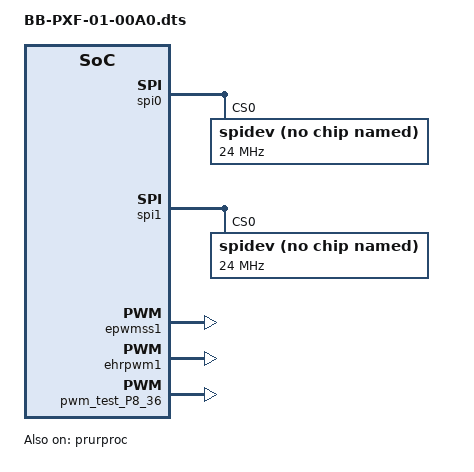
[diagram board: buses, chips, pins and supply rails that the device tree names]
/*
* Copyright (C) 2013 Pantelis Antoniou <panto@antoniou-consulting.com>
*
* This program is free software; you can redistribute it and/or modify
* it under the terms of the GNU General Public License version 2 as
* published by the Free Software Foundation.
*/
/dts-v1/;
/plugin/;

/ {
	compatible = "ti,beaglebone", "ti,beaglebone-black";

	/* identification */
	part-number = "BB-PXF-01";
	version = "00A0";

	/* state the resources this cape uses */
	exclusive-use =
		/* the pin header uses */

		/* PRU RCInput */
		"P8.11",	/* pru0: pr1_pru0_pru_r30_15 */
		"P8.15",	/* pru0: pr1_pru0_pru_r31_15, PPM-sum, SBUS, DSM */
	
        /* PRU RCOutput */
		"P8.27",	/* pru1: pr1_pru1_pru_r30_8, CH_2 */
		"P8.28",	/* pru1: pr1_pru1_pru_r30_10, CH_1 */
		"P8.29",	/* pru1: pr1_pru1_pru_r30_9, CH_4 */
		"P8.30",	/* pru1: pr1_pru1_pru_r30_11, CH_3 */
		"P8.39",	/* pru1: pr1_pru1_pru_r30_6, CH_6 */
		"P8.40",	/* pru1: pr1_pru1_pru_r30_7, CH_5 */
		"P8.41",	/* pru1: pr1_pru1_pru_r30_4, CH_8 */
		"P8.42",	/* pru1: pr1_pru1_pru_r30_5, CH_7 */
		"P8.43",	/* pru1: pr1_pru1_pru_r30_2, CH_10 */
		"P8.44",	/* pru1: pr1_pru1_pru_r30_3, CH_9 */
		"P8.45",	/* pru1: pr1_pru1_pru_r30_0, CH_12 */
		"P8.46",	/* pru1: pr1_pru1_pru_r30_1, CH_11 */

		/* SPI0 */
		"P9.22",	/* SPI0_SCLK */
		"P9.21",	/* SPI0_MOSI */
		"P9.18",	/* SPI0_MISO */
		"P9.17",	/* LSM9DSO_AM CS */
		"P8.9",		/* LSM9DSO_G CS  */
        
		/* SPI1 */
		"P9.31",	/* SPI1_SCLK */
		"P9.29",	/* SPI1_MOSI */
		"P9.30",	/* SPI1_MISO */
		"P9.42",	/* MS5611 CS */
		"P9.28",	/* MPU6000 CS */
		"P9.23",	/* MPU9250 CS */
		"P8.12",	/* FRAM CS */
        
		/* Buzzer PWM */
		"P8.36",	/* pwm: ehrpwm1A */
		
		/* the hardware IP uses */
		"pru0",
		"pru1",
		"spi0",
		"spi1",
		"ehrpwm1A";

	fragment@0 {
		target = <&am33xx_pinmux>;
		__overlay__ {

			pru_gpio_pins: pinmux_pru_gpio_pins {
				pinctrl-single,pins = <
					0x1a4 0x0f 	/* P9 27 GPIO3_19: mcasp0_fsr.gpio3[19] | MODE7 | OUTPUT */
				>;
			};

			pru_pru_pins: pinmux_pru_pru_pins {
				pinctrl-single,pins = <
					0x034 0x26	/* gpmc_ad13.pr1_pru0_pru_r30_15, MODE6 | OUTPUT | PRU */
					0x03c 0x2e	/* gpmc_ad15.pr1_pru0_pru_r31_15, MODE6 | INPUT | PRU, PPM-sum, SBUS, DSM  */

					0x0e0 0x25	/* lcd_vsync.pr1_pru1_pru_r30_8, MODE5 | OUTPUT | PRU, CH_2 */
					0x0e8 0x25	/* lcd_pclk.pr1_pru1_pru_r30_10, MODE5 | OUTPUT | PRU, CH_1 */
					0x0e4 0x25	/* lcd_hsync.pr1_pru1_pru_r30_9, MODE5 | OUTPUT | PRU, CH_4 */
					0x0ec 0x25	/* lcd_ac_bias_en.pr1_pru1_pru_r30_11, MODE5 | OUTPUT | PRU, CH_3 */
					0x0b8 0x25	/* lcd_data6.pr1_pru1_pru_r30_6, MODE5 | OUTPUT | PRU, CH_6 */
					0x0bc 0x25	/* lcd_data7.pr1_pru1_pru_r30_7, MODE5 | OUTPUT | PRU, CH_5 */
					0x0b0 0x25	/* lcd_data4.pr1_pru1_pru_r30_4, MODE5 | OUTPUT | PRU, CH_8 */
					0x0b4 0x25	/* lcd_data5.pr1_pru1_pru_r30_5, MODE5 | OUTPUT | PRU, CH_7 */
					0x0a8 0x25	/* lcd_data2.pr1_pru1_pru_r30_2, MODE5 | OUTPUT | PRU, CH_10 */
					0x0ac 0x25	/* lcd_data3.pr1_pru1_pru_r30_3, MODE5 | OUTPUT | PRU, CH_9 */
					0x0a0 0x25	/* lcd_data0.pr1_pru1_pru_r30_0, MODE5 | OUTPUT | PRU, CH_12 */
					0x0a4 0x25	/* lcd_data1.pr1_pru1_pru_r30_1, MODE5 | OUTPUT | PRU, CH_11 */
				>;
			};
			spi0_pins_s0: spi0_pins_s0 {
				pinctrl-single,pins = <
					0x150 0x30	/* spi0_sclk, SPI0_SCLK P9_22 */
					0x154 0x10	/* spi0_d0, SPI0_MOSI  P9_21 */
					0x158 0x30	/* spi0_d1, SPI0_MISO P9_18 */
					
							/* setup a dummy CS for the SPI driver to use, then
							setup pin modes for the two real CS lines to
							set them pull-up */

					0x054 0x07	/* led pin, dummy CS */
					0x15C 0x37	/* LSM9DSO_AM CS P9_17 */
					0x09C 0x37	/* LSM9DSO_G CS P8_9 */
				>;
			};
			spi1_pins_s0: spi1_pins_s0 {
				pinctrl-single,pins = <
					0x190 0x33	/* mcasp0_aclkx.spi1_sclk, SPI1_SCLK P9_31 */
					0x194 0x13	/* mcasp0_fsx.spi1_d0, SPI1_MOSI P9_29 */
					0x198 0x33	/* mcasp0_axr0.spi1_d1, SPI1_MISO P9_30 */
				
					/* setup a dummy CS for the SPI driver to use, then
					setup pin modes for the four real CS lines to
					set them pull-up */
				
					0x058 0x07	/* dummy CS */
					0x164 0x37	/* P9_42 MS5611 CS */
					0x19C 0x37	/* P9_28 MPU6000 CS */
					0x044 0x37	/* P9_23 MPU9250 CS */
					0x030 0x37	/* P8_12 FRAM CS */
				>;
			};
			pwm_P8_36: pinmux_pwm_P8_36_pins {
				pinctrl-single,pins = <
					0x0C8 0x02	/* P8_36 (ZCZ ball U3) | MODE 2 */
				>; 
			};
		};
	};
	fragment@2 {
		target = <&spi0>;
		__overlay__ {
			#address-cells = <1>;
			#size-cells = <0>;
			status = "okay";
			pinctrl-names = "default";
			pinctrl-0 = <&spi0_pins_s0>;
			ti,pindir-d0-out-d1-in = <1>;
  
			spidev@0 {
				spi-max-frequency = <24000000>;
				reg = <0>;
				compatible = "linux,spidev";
			};
		};
	};
	fragment@3{
		target = <&spi1>;
		__overlay__ {
			#address-cells = <1>;
			#size-cells = <0>;
			status = "okay";
			pinctrl-names = "default";
			pinctrl-0 = <&spi1_pins_s0>;
			ti,pindir-d0-out-d1-in = <1>;

			spidev@1 {
				spi-max-frequency = <24000000>;
				reg = <0>;
				compatible = "linux,spidev";
			};
		};
	};
	fragment@4 {
		target = <&epwmss1>;
		__overlay__ {
			status = "okay";
		};
	};
	fragment@5 {
		target = <&ehrpwm1>;
		__overlay__ {
			status = "okay";
		};
	};
	fragment@6 {
		target = <&ocp>;
		__overlay__ {
			pwm_test_P8_36 {
				compatible	= "pwm_test";
				pwms 		= <&ehrpwm1 0 500000 1>;
				pwm-names 	= "PWM_P8_36";
				pinctrl-names	= "default";
				pinctrl-0	= <&pwm_P8_36>;
				enabled		= <1>;
				duty		= <0>;
				status 		= "okay";
			};
		};
	};
	fragment@7 {
		target = <&ocp>;

		__overlay__ {

			/* avoid stupid warning */
			#address-cells = <1>;
			#size-cells = <1>;

			prurproc {
				compatible = "ti,pru-rproc";

				pinctrl-names = "default";
				pinctrl-0 = <&pru_pru_pins>;

				reg = <0x4a300000 0x080000>;

				status = "okay";

				ti,hwmods = "pruss";
				ti,deassert-hard-reset = "pruss", "pruss";
				interrupt-parent = <&intc>;

				/* interrupts on the host */
				interrupts = <20 21 22 23 24 25 26 27>;

				/* events these interrupts map to (host interrupt) */
				events = <2 3 4 5 6 7 8 9>;

				/* PRU interrupt controller offset */
				pintc = <0x20000>;

				/* 12K Shared Data RAM global, size, local */
				pdram = <0x10000 0x03000 0x10000>;

				/*
				 * SYSEVENT ids
				 *
				 * - PRU/ARM communication
				 * PRU0_PRU1	17
				 * PRU1_PRU0	18
				 * PRU0_ARM	19
				 * PRU1_ARM	20
				 * ARM_PRU0	21
				 * ARM_PRU1	22
				 *
				 * Full SYSEVENT list
				 *
				 * parity_err_intr_pend		0
				 * pru0_r31_status_cnt16	1
				 * pru1_r31_status_cnt16	2
				 * uart_urxevt_intr_req		4
				 * uart_utxevt_intr_req		5
				 * uart_uint_intr_req		6
				 * iep_tim_cap_cmp_pend		7
				 * ecap_intr_req		15
				 * pru_mst_intr[0-15]_intr_req	16-31
				 * nirq				32 (UART1)
				 * mcasp_x_intr_pend		33 (MCASP1)
				 * mcasp_r_intr_pend		34 (MCASP1)
				 * ecap_intr_intr_pend		35 (ECAP1)
				 * ecap_intr_intr_pend		36 (ECAP2)
				 * epwm_intr_intr_pend		37 (eHRPWM2)
				 * dcan_uerr			38 (DCAN0)
				 * dcan_int1			39 (DCAN0)
				 * dcan_intr			40 (DCAN0)
				 * POINTRPEND			41 (I2C0)
				 * ecap_intr_intr_pend		42 (ECAP0)
				 * epwm_intr_intr_pend		43 (eHRPWM0)
				 * SINTERRUPTN			44 (McSPI0)
				 * eqep_intr_intr_pend		45 (eQEP0)
				 * epwm_intr_intr_pend		46 (eHRPWM1)
				 * c0_misc_pend			47 3PGSW (GEMAC)
				 * c0_tx_pend			48 3PGSW (GEMAC)
				 * c0_rx_pend			49 3PGSW (GEMAC)
				 * c0_rx_thresh_pend		50 3PGSW (GEMAC)
				 * nirq				51 (UART0)
				 * nirq				52 (UART2)
				 * gen_intr_pend		53 (ADC_TSC)
				 * mcasp_r_intr_pend		54 (McASP0)
				 * mcasp_x_intr_pend		55 (McASP1)
				 * pwm_trip_zone		56 (eHRPWM0/eHRPWM1/eHRP WM2)
				 * POINTRPEND1			57 (GPIO0)
				 * Emulation Suspend Signal	58 (Debugss)
				 * initiator_sinterrupt_q_n2	59 (Mbox0 - mail_u2_irq (mailbox interrupt for pru1))
				 * initiator_sinterrupt_q_n1	60 (Mbox0 - mail_u1_irq (mailbox interrupt for pru0))
				 * tptc_erint_pend_po		61 (TPTC0 (EDMA))
				 * tpcc_errint_pend_po		62 (TPCC (EDMA))
				 * tpcc_int_pend_po1		63 (TPCC (EDMA))
				 *
				 * HOST interrupt ids
				 *
				 * PRU0		0
				 * PRU1		1
				 * EVTOUT0-7	2-9
				 */

				/* sysevent map to intc channel */
				sysevent-to-channel-map =
					<17 1>,	/* PRU0_PRU1 -> CH1 */
					<18 0>,	/* PRU1_PRU0 -> CH0 */
					<19 2>,	/* PRU0_ARM  -> CH2 */
					<20 3>,	/* PRU1_ARM  -> CH3 */
					<21 0>,	/* ARM_PRU0  -> CH0 */
					<22 1>,	/* ARM_PRU1  -> CH1 */
					<24 4>,	/* VRING Host->PRU0 -> CH4 */
					<25 5>, /* VRING PRU0->Host -> CH5 */
					<26 6>, /* VRING Host->PRU1 -> CH6 */
					<27 7>; /* VRING PRU1->Host -> CH7 */

				/* channel to host interrupt map */
				channel-to-host-interrupt-map =
					<0 0>,	/* CH0 -> PRU0	  */
					<1 1>,	/* CH1 -> PRU1	*/
					<2 2>,	/* CH2 -> EVTOUT0 */
					<3 3>,	/* CH3 -> EVTOUT1 */
					<4 0>,  /* CH4 -> PRU0	*/
					<5 6>,	/* CH5 -> EVTOUT4 */
					<6 1>,  /* CH6 -> PRU1	*/
					<7 7>;  /* CH7 -> EVTOUT5 */

				/* indices are ARM=0, PRU0=1, PRU1=2 */
				target-to-sysevent-map =
					<0xffffffff		 21		 22>,	/* ARM:  DONTCARE, ARM_PRU0,  ARM_PRU1  */
					<		19 0xffffffff		 17>,	/* PRU0: PRU0_ARM, DONTCARE,  PRU0_PRU1 */
					<		20		 18 0xffffffff>;	/* PRU1: PRU1_ARM, PRU1_PRU0, DONTCARE  */

				/* both the PRUs have 200MHz frequency so period is 5ns */
				clock-freq = <200000000>;

				/* the linux pwms we support */
				pru-pwm-channels = <0 1 2 3 4 5 6 7 8 9 10 11 12 13 21>;
				/* first PRU controls the PWMs */
				pru-pwm-controller = <0>;
				/* the IDs of the downcalls the firmware expects for PWMs */
				/* CONFIG=0, ENABLE=1, DISABLE=2 */
				pru-pwm-dc-ids = <0 1 2>;

				/* definition for the first PRU */
				pru0 {
					pru-index = <0>;

					/* offset, size, local */
					iram = <0x34000 0x02000 0x00000>;		/* code ram (8K) */

					/* offset, size, local, other */
					dram = <0x00000 0x02000 0x00000 0x10000>;	/* data ram (8K) */

					pctrl = <0x22000>;
					pdbg  = <0x22400>;

					firmware-elf;
					firmware = "testpru0";

					/* sysevents signaling ring activity (host, pru)*/
					vring-sysev = <24 25>;

					resource_table {
						resource-table;
						version = <1>;

						pru0_rproc_serial: pru0_vdev_rproc_serial {
							vdev-rproc-serial;

							/* notification IDs are totally bogus */
							/* rproc will idr_alloc anyway */

							notifyid = <8>;	/* <- bogus */
							/* da align num notifyid */
							vring-0 = <0 16 8 0>;
							vring-1 = <0 16 8 0>;
						};


					};
				};

				/* definition for the second PRU */
				pru1 {
					pru-index = <1>;

					/* offset, size, local */
					iram = <0x38000 0x02000 0x00000>;		/* code ram (8K) */

					/* offset, size, local, other */
					dram = <0x02000 0x02000 0x00000 0x10000>;	/* data ram (8K) */

					pctrl = <0x24000>;
					pdbg  = <0x24400>;

					firmware-elf;
					firmware = "pwmpru1";

					/* NOTE: no resource table, no vrings for this one */
				};
			};
		};
	};
};
